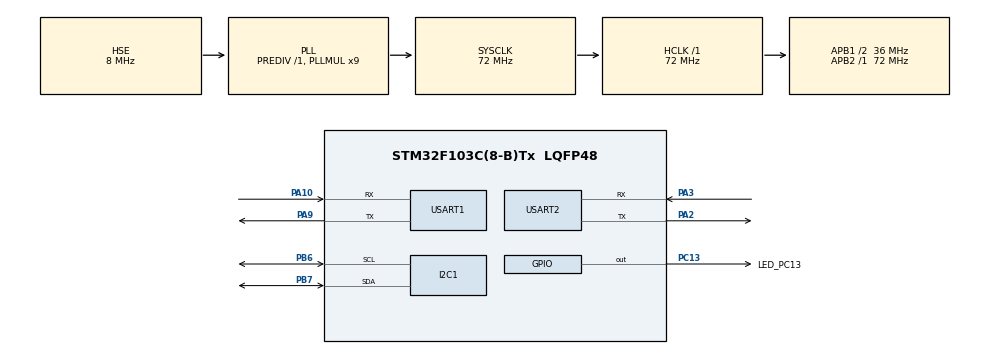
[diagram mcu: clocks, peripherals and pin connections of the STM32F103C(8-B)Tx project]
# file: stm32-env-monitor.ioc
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FREERTOS.Tasks01=defaultTask,24,128,StartDefaultTask,Default,NULL,Dynamic,NULL,NULL
FREERTOS.configCHECK_FOR_STACK_OVERFLOW=2
FREERTOS.configTOTAL_HEAP_SIZE=10240
FREERTOS.configUSE_MALLOC_FAILED_HOOK=1
I2C1.I2C_Mode=I2C_Fast
Mcu.Family=STM32F1
Mcu.Name=STM32F103C(8-B)Tx
Mcu.Package=LQFP48
NVIC.PriorityGroup=NVIC_PRIORITYGROUP_4
PA10.Mode=Asynchronous
PA10.Signal=USART1_RX
PA13.Mode=Serial_Wire
PA13.Signal=SYS_JTMS-SWDIO
PA14.Mode=Serial_Wire
PA14.Signal=SYS_JTCK-SWCLK
PA2.Mode=Asynchronous
PA2.Signal=USART2_TX
PA3.Mode=Asynchronous
PA3.Signal=USART2_RX
PA9.Mode=Asynchronous
PA9.Signal=USART1_TX
PB6.Mode=I2C
PB6.Signal=I2C1_SCL
PB7.Mode=I2C
PB7.Signal=I2C1_SDA
PC13-TAMPER-RTC.GPIO_Label=LED_PC13
PC13-TAMPER-RTC.PinState=GPIO_PIN_SET
PC13-TAMPER-RTC.Signal=GPIO_Output
PD0-OSC_IN.Mode=HSE-External-Oscillator
PD0-OSC_IN.Signal=RCC_OSC_IN
PD1-OSC_OUT.Mode=HSE-External-Oscillator
PD1-OSC_OUT.Signal=RCC_OSC_OUT
ProjectManager.HeapSize=0x200
ProjectManager.StackSize=0x400
ProjectManager.TargetToolchain=STM32CubeIDE
RCC.AHBFreq_Value=72000000
RCC.APB1CLKDivider=RCC_HCLK_DIV2
RCC.APB1Freq_Value=36000000
RCC.APB1TimFreq_Value=72000000
RCC.APB2Freq_Value=72000000
RCC.APB2TimFreq_Value=72000000
RCC.HCLKFreq_Value=72000000
RCC.PLLMUL=RCC_PLL_MUL9
RCC.PLLSourceVirtual=RCC_PLLSOURCE_HSE
RCC.SYSCLKFreq_VALUE=72000000
RCC.SYSCLKSource=RCC_SYSCLKSOURCE_PLLCLK
RCC.USBFreq_Value=72000000
USART1.VirtualMode=VM_ASYNC
USART2.VirtualMode=VM_ASYNC
VP_FREERTOS_VS_CMSIS_V2.Mode=CMSIS_V2
board=custom

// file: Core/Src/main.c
/* USER CODE BEGIN Header */
/**
  ******************************************************************************
  * @file           : main.c
  * @brief          : Main program body
  ******************************************************************************
  * @attention
  *
  * Copyright (c) 2026 STMicroelectronics.
  * All rights reserved.
  *
  * This software is licensed under terms that can be found in the LICENSE file
  * in the root directory of this software component.
  * If no LICENSE file comes with this software, it is provided AS-IS.
  *
  ******************************************************************************
  */
/* USER CODE END Header */
#include "main.h"
#include "cmsis_os.h"
#include "i2c.h"
#include "usart.h"
#include "gpio.h"

/* USER CODE BEGIN Includes */
#include "app_log.h"
#include "app_link.h"
#include "app_display.h"
#include "app_monitor.h"
#include "app_protocol.h"
#include "app_runtime.h"
#include "app_status.h"
#include "FreeRTOS.h"
#include "task.h"
#include <string.h>
/* USER CODE END Includes */

/* USER CODE BEGIN PV */
/* 集中保存启动结果与 LED 心跳状态。 */
static app_status_t app_status;
/* 保存最新传感器快照及各设备的错误统计。 */
static app_monitor_t app_monitor;
/* OLED 页面状态与 128x64 显示缓存。 */
static app_display_t app_display;
/* USART1 二进制协议的发送序号和最近状态。 */
static uint16_t app_protocol_tx_sequence;
static HAL_StatusTypeDef app_protocol_tx_status;
static uint32_t app_protocol_tx_error_count;
/* 保存等待 ACK 的完整帧，超时后以原序号重传。 */
typedef struct
{
  uint8_t pending_frame[APP_PROTOCOL_MAX_FRAME_LENGTH];
  uint16_t pending_frame_length;
  uint32_t last_tx_tick;
  uint32_t retry_count;
  uint32_t timeout_count;
  uint32_t drop_count;
  uint8_t retry_attempts;
  uint8_t pending;
} app_protocol_reliability_t;

static app_protocol_reliability_t app_protocol_reliability;
/* USART1 接收解析器与 ACK 统计。 */
static app_link_t app_link;
/* 采样任务向显示/链路任务复制的完整快照。 */
typedef struct
{
  app_monitor_t monitor;
  uint8_t display_ready;
  /* ESP32 通过 USART1 回传的 Wi-Fi/MQTT 状态，供 OLED 显示。 */
  uint8_t network_flags;
} app_runtime_snapshot_t;

static osMutexId_t app_i2c_mutex;
static osMessageQueueId_t app_display_queue;
static osMessageQueueId_t app_link_queue;
static osThreadId_t app_sensor_task_handle;
static osThreadId_t app_display_task_handle;
static osThreadId_t app_link_task_handle;
static osThreadId_t app_health_task_handle;
static volatile uint32_t app_display_queue_drop_count;
static volatile uint32_t app_link_queue_drop_count;
static volatile uint32_t app_display_queue_peak_count;
static volatile uint32_t app_link_queue_peak_count;
/* USER CODE END PV */

void SystemClock_Config(void);
void MX_FREERTOS_Init(void);

/* USER CODE BEGIN 0 */

#define APP_PROTOCOL_UART_TIMEOUT_MS 20U
#define APP_PROTOCOL_ACK_TIMEOUT_MS 200U
#define APP_PROTOCOL_MAX_ACK_RETRIES 3U
#define APP_PROTOCOL_FLAG_CLIMATE_VALID 0x01U
#define APP_PROTOCOL_FLAG_ILLUMINANCE_VALID 0x02U
#define APP_PROTOCOL_FLAG_DISPLAY_READY 0x04U
#define APP_RTOS_SENSOR_PERIOD_TICKS 1000U
#define APP_RTOS_DISPLAY_WAIT_TICKS 250U
#define APP_RTOS_LINK_WAIT_TICKS 20U
#define APP_RTOS_HEALTH_PERIOD_TICKS 100U
#define APP_RTOS_SNAPSHOT_QUEUE_LENGTH 3U
#define APP_RTOS_RESOURCE_LOG_SAMPLE_PERIOD 60U

static uint32_t app_runtime_stack_free_bytes(osThreadId_t task_handle);

/* 将最新采样快照打包为 ENV_REPORT，并通过 USART1 发送给 ESP32。 */
static HAL_StatusTypeDef app_protocol_send_env_report(const app_monitor_t *monitor,
                                                      uint8_t display_ready,
                                                      app_link_t *link,
                                                      app_protocol_reliability_t *reliability)
{
  app_protocol_env_report_t report = {0};
  uint8_t payload[APP_PROTOCOL_ENV_REPORT_PAYLOAD_LENGTH];
  uint8_t frame[APP_PROTOCOL_MAX_FRAME_LENGTH];
  uint16_t frame_length = 0U;
  uint16_t sequence;
  HAL_StatusTypeDef status;

  if ((monitor == NULL) || (link == NULL) || (reliability == NULL))
  {
    return HAL_ERROR;
  }

  /* 上一帧尚未确认时只等待重传流程，不覆盖缓存帧。 */
  if (link->awaiting_ack != 0U)
  {
    return HAL_BUSY;
  }

  report.uptime_ms = HAL_GetTick();
  report.sample_sequence = monitor->sample_sequence;
  report.temperature_milli_c = monitor->climate.temperature_milli_c;
  report.humidity_milli_rh = monitor->climate.humidity_milli_rh;
  report.illuminance_milli_lux = monitor->illuminance_milli_lux;
  report.aht20_status = (uint8_t)monitor->aht20_status;
  report.bh1750_status = (uint8_t)monitor->bh1750_status;
  report.aht20_comm_errors = monitor->aht20_error_count;
  report.bh1750_comm_errors = monitor->bh1750_error_count;
  report.aht20_data_errors = monitor->aht20_data_error_count;
  report.bh1750_data_errors = monitor->bh1750_data_error_count;

  if (monitor->climate_valid != 0U)
  {
    report.valid_flags |= APP_PROTOCOL_FLAG_CLIMATE_VALID;
  }
  if (monitor->illuminance_valid != 0U)
  {
    report.valid_flags |= APP_PROTOCOL_FLAG_ILLUMINANCE_VALID;
  }
  if (display_ready != 0U)
  {
    report.valid_flags |= APP_PROTOCOL_FLAG_DISPLAY_READY;
  }

  app_protocol_pack_env_report(&report, payload);
  sequence = app_protocol_tx_sequence;
  status = app_protocol_encode(APP_PROTOCOL_TYPE_ENV_REPORT,
                               sequence,
                               payload,
                               sizeof(payload),
                               frame,
                               sizeof(frame),
                               &frame_length);
  if (status != HAL_OK)
  {
    ++app_protocol_tx_error_count;
    return status;
  }

  (void)memcpy(reliability->pending_frame, frame, frame_length);
  reliability->pending_frame_length = frame_length;
  reliability->retry_attempts = 0U;
  reliability->pending = 1U;

  /* ESP32 回 ACK 很快，必须在发送前登记本帧序号。 */
  app_link_arm_env_report_ack(link, sequence);
  status = HAL_UART_Transmit(&huart1,
                             frame,
                             frame_length,
                             APP_PROTOCOL_UART_TIMEOUT_MS);
  if (status == HAL_OK)
  {
    reliability->last_tx_tick = HAL_GetTick();
    ++app_protocol_tx_sequence;
  }
  else
  {
    app_link_cancel_env_report_ack(link);
    reliability->pending = 0U;
    reliability->pending_frame_length = 0U;
    ++app_protocol_tx_error_count;
  }

  return status;
}

/* 非阻塞检查 ACK 超时；每帧最多额外发送三次。 */
static void app_protocol_retry_pending_report(app_link_t *link,
                                              app_protocol_reliability_t *reliability)
{
  HAL_StatusTypeDef status;
  uint32_t now;

  if ((link == NULL) || (reliability == NULL) || (reliability->pending == 0U))
  {
    return;
  }

  /* ACK 中断已确认当前帧，释放本地缓存。 */
  if (link->awaiting_ack == 0U)
  {
    reliability->pending = 0U;
    reliability->pending_frame_length = 0U;
    return;
  }

  now = HAL_GetTick();
  if ((uint32_t)(now - reliability->last_tx_tick) < APP_PROTOCOL_ACK_TIMEOUT_MS)
  {
    return;
  }

  ++reliability->timeout_count;
  if (reliability->retry_attempts >= APP_PROTOCOL_MAX_ACK_RETRIES)
  {
    /* 重试耗尽后放弃旧帧，下一采样周期生成新帧继续工作。 */
    app_link_cancel_env_report_ack(link);
    reliability->pending = 0U;
    reliability->pending_frame_length = 0U;
    ++reliability->drop_count;
    return;
  }

  ++reliability->retry_attempts;
  ++reliability->retry_count;
  reliability->last_tx_tick = now;
  status = HAL_UART_Transmit(link->huart,
                             reliability->pending_frame,
                             reliability->pending_frame_length,
                             APP_PROTOCOL_UART_TIMEOUT_MS);
  app_protocol_tx_status = status;
  if (status != HAL_OK)
  {
    app_protocol_tx_status = status;
    ++app_protocol_tx_error_count;
  }
}

/* USART2 保持详细链路诊断，方便比较 RTOS 迁移前后的行为。 */
static void app_runtime_log_snapshot(const app_runtime_snapshot_t *snapshot)
{
  const app_monitor_t *monitor;
  int32_t temperature_fraction;

  if (snapshot == NULL)
  {
    return;
  }

  monitor = &snapshot->monitor;
  temperature_fraction = monitor->climate.temperature_milli_c % 1000;
  if (temperature_fraction < 0)
  {
    temperature_fraction = -temperature_fraction;
  }

  (void)app_log_printf(&huart2,
                       "sample=%lu aht=%s valid=%u t=%ld.%03ldC h=%lu.%03lu%% "
                       "bh=%s valid=%u l=%lu.%03lulx comm=%lu/%lu data=%lu/%lu "
                       "uart1=%s txerr=%lu ack=%lu rxerr=%lu ackerr=%lu exp=%u got=%u af=0x%02X "
                       "retry=%lu timeout=%lu drop=%lu pending=%u qdrop=%lu/%lu "
                       "net=%c%c ns=%lu nerr=%lu wd=%lu md=%lu nr=%u\r\n",
                       (unsigned long)monitor->sample_sequence,
                       app_monitor_status_name(monitor->aht20_status),
                       (unsigned int)monitor->climate_valid,
                       (long)(monitor->climate.temperature_milli_c / 1000),
                       (long)temperature_fraction,
                       (unsigned long)(monitor->climate.humidity_milli_rh / 1000U),
                       (unsigned long)(monitor->climate.humidity_milli_rh % 1000U),
                       app_monitor_status_name(monitor->bh1750_status),
                       (unsigned int)monitor->illuminance_valid,
                       (unsigned long)(monitor->illuminance_milli_lux / 1000U),
                       (unsigned long)(monitor->illuminance_milli_lux % 1000U),
                       (unsigned long)monitor->aht20_error_count,
                       (unsigned long)monitor->bh1750_error_count,
                       (unsigned long)monitor->aht20_data_error_count,
                       (unsigned long)monitor->bh1750_data_error_count,
                       app_monitor_status_name(app_protocol_tx_status),
                       (unsigned long)app_protocol_tx_error_count,
                       (unsigned long)app_link.ack_count,
                       (unsigned long)app_link.rx_error_count,
                       (unsigned long)app_link.ack_error_count,
                       (unsigned int)app_link.expected_ack_sequence,
                       (unsigned int)app_link.last_received_ack_sequence,
                       (unsigned int)app_link.last_ack_error_flags,
                       (unsigned long)app_protocol_reliability.retry_count,
                       (unsigned long)app_protocol_reliability.timeout_count,
                       (unsigned long)app_protocol_reliability.drop_count,
                       (unsigned int)app_protocol_reliability.pending,
                       (unsigned long)app_display_queue_drop_count,
                       (unsigned long)app_link_queue_drop_count,
                       (app_link.network_flags & APP_PROTOCOL_NET_FLAG_WIFI_CONNECTED) != 0U ? 'W' : '-',
                       (app_link.network_flags & APP_PROTOCOL_NET_FLAG_MQTT_CONNECTED) != 0U ? 'M' : '-',
                       (unsigned long)app_link.net_status_count,
                       (unsigned long)app_link.net_status_error_count,
                       (unsigned long)app_link.wifi_disconnect_count,
                       (unsigned long)app_link.mqtt_disconnect_count,
                       (unsigned int)app_link.last_network_reason);
}

/* 输出堆、栈和队列峰值，用于长稳测试而非功能判定。 */
static void app_runtime_log_resources(void)
{
  (void)app_log_printf(&huart2,
                       "rtos heap=%lu min=%lu stack=%lu/%lu/%lu/%lu "
                       "q=%lu/%lu peak=%lu/%lu qdrop=%lu/%lu\r\n",
                       (unsigned long)xPortGetFreeHeapSize(),
                       (unsigned long)xPortGetMinimumEverFreeHeapSize(),
                       (unsigned long)app_runtime_stack_free_bytes(app_sensor_task_handle),
                       (unsigned long)app_runtime_stack_free_bytes(app_display_task_handle),
                       (unsigned long)app_runtime_stack_free_bytes(app_link_task_handle),
                       (unsigned long)app_runtime_stack_free_bytes(app_health_task_handle),
                       (unsigned long)osMessageQueueGetCount(app_display_queue),
                       (unsigned long)osMessageQueueGetCount(app_link_queue),
                       (unsigned long)app_display_queue_peak_count,
                       (unsigned long)app_link_queue_peak_count,
                       (unsigned long)app_display_queue_drop_count,
                       (unsigned long)app_link_queue_drop_count);
}

/* FreeRTOS 返回的高水位以 StackType_t 个数为单位，转换为字节便于阅读。 */
static uint32_t app_runtime_stack_free_bytes(osThreadId_t task_handle)
{
  if (task_handle == NULL)
  {
    return 0U;
  }

  return (uint32_t)(uxTaskGetStackHighWaterMark((TaskHandle_t)task_handle) *
                    sizeof(StackType_t));
}

/* 采样任务是两条快照队列的唯一生产者，因此在此记录峰值。 */
static void app_runtime_update_queue_peak(osMessageQueueId_t queue,
                                          volatile uint32_t *peak_count)
{
  uint32_t current_count;

  if ((queue == NULL) || (peak_count == NULL))
  {
    return;
  }

  current_count = osMessageQueueGetCount(queue);
  if (current_count > *peak_count)
  {
    *peak_count = current_count;
  }
}

static void app_runtime_sensor_task(void *argument)
{
  app_runtime_snapshot_t snapshot;
  uint32_t next_tick = osKernelGetTickCount();

  (void)argument;
  for (;;)
  {
    if (osMutexAcquire(app_i2c_mutex, osWaitForever) == osOK)
    {
      if (app_monitor_update(&app_monitor, &hi2c1) != 0U)
      {
        snapshot.monitor = app_monitor;
        /* OLED 由显示任务独占，此标志允许链路任务使用最近已知状态。 */
        snapshot.display_ready = app_display.initialized;
        /* 8 位标志由 USART1 接收中断更新，读取是原子的，最多滞后一采样周期。 */
        snapshot.network_flags = app_link.network_flags;

        if (osMessageQueuePut(app_display_queue, &snapshot, 0U, 0U) != osOK)
        {
          ++app_display_queue_drop_count;
        }
        app_runtime_update_queue_peak(app_display_queue, &app_display_queue_peak_count);
        if (osMessageQueuePut(app_link_queue, &snapshot, 0U, 0U) != osOK)
        {
          ++app_link_queue_drop_count;
        }
        app_runtime_update_queue_peak(app_link_queue, &app_link_queue_peak_count);
      }
      (void)osMutexRelease(app_i2c_mutex);
    }

    next_tick += APP_RTOS_SENSOR_PERIOD_TICKS;
    (void)osDelayUntil(next_tick);
  }
}

static void app_runtime_display_task(void *argument)
{
  app_runtime_snapshot_t snapshot = {0};
  uint8_t has_snapshot = 0U;

  (void)argument;
  for (;;)
  {
    uint8_t data_changed = 0U;

    if (osMessageQueueGet(app_display_queue,
                          &snapshot,
                          NULL,
                          APP_RTOS_DISPLAY_WAIT_TICKS) == osOK)
    {
      has_snapshot = 1U;
      data_changed = 1U;
    }

    if ((has_snapshot != 0U) &&
        (osMutexAcquire(app_i2c_mutex, osWaitForever) == osOK))
    {
      app_display_update(&app_display,
                         &hi2c1,
                         &snapshot.monitor,
                         snapshot.network_flags,
                         data_changed);
      (void)osMutexRelease(app_i2c_mutex);
    }
  }
}

static void app_runtime_link_task(void *argument)
{
  app_runtime_snapshot_t snapshot;
  uint32_t last_resource_log_sample = 0U;

  (void)argument;
  for (;;)
  {
    app_protocol_retry_pending_report(&app_link, &app_protocol_reliability);

    if (osMessageQueueGet(app_link_queue,
                          &snapshot,
                          NULL,
                          APP_RTOS_LINK_WAIT_TICKS) == osOK)
    {
      app_protocol_tx_status = app_protocol_send_env_report(&snapshot.monitor,
                                                             snapshot.display_ready,
                                                             &app_link,
                                                             &app_protocol_reliability);
      app_runtime_log_snapshot(&snapshot);

      if ((last_resource_log_sample == 0U) ||
          ((snapshot.monitor.sample_sequence - last_resource_log_sample) >=
           APP_RTOS_RESOURCE_LOG_SAMPLE_PERIOD))
      {
        last_resource_log_sample = snapshot.monitor.sample_sequence;
        app_runtime_log_resources();
      }
    }
  }
}

static void app_runtime_health_task(void *argument)
{
  (void)argument;
  for (;;)
  {
    app_status_update(&app_status, LED_PC13_GPIO_Port, LED_PC13_Pin);
    (void)osDelay(APP_RTOS_HEALTH_PERIOD_TICKS);
  }
}

void app_runtime_init(void)
{
  /* 日志失败仅改变 LED 状态，不阻止后续任务创建。 */
  app_status_init(&app_status,
                  app_log_write(&huart2, "stm32-env-monitor boot\r\n"));
  app_monitor_init(&app_monitor);
  app_display_init(&app_display);
  app_protocol_tx_status = HAL_BUSY;

  /* ACK 字节只做协议解析，不调用 RTOS API，可保持高于内核的优先级。 */
  app_link_init(&app_link, &huart1);
  HAL_NVIC_SetPriority(USART1_IRQn, 1U, 0U);
  HAL_NVIC_EnableIRQ(USART1_IRQn);
}

void app_runtime_start(void)
{
  static const osThreadAttr_t sensor_attributes = {
    .name = "SensorTask",
    .stack_size = 384U * 4U,
    .priority = (osPriority_t)osPriorityAboveNormal,
  };
  static const osThreadAttr_t display_attributes = {
    .name = "DisplayTask",
    .stack_size = 384U * 4U,
    .priority = (osPriority_t)osPriorityBelowNormal,
  };
  static const osThreadAttr_t link_attributes = {
    .name = "LinkTask",
    .stack_size = 512U * 4U,
    .priority = (osPriority_t)osPriorityAboveNormal,
  };
  static const osThreadAttr_t health_attributes = {
    .name = "HealthTask",
    .stack_size = 192U * 4U,
    .priority = (osPriority_t)osPriorityLow,
  };

  app_i2c_mutex = osMutexNew(NULL);
  app_display_queue = osMessageQueueNew(APP_RTOS_SNAPSHOT_QUEUE_LENGTH,
                                        sizeof(app_runtime_snapshot_t),
                                        NULL);
  app_link_queue = osMessageQueueNew(APP_RTOS_SNAPSHOT_QUEUE_LENGTH,
                                     sizeof(app_runtime_snapshot_t),
                                     NULL);

  app_sensor_task_handle = osThreadNew(app_runtime_sensor_task, NULL, &sensor_attributes);
  app_display_task_handle = osThreadNew(app_runtime_display_task, NULL, &display_attributes);
  app_health_task_handle = osThreadNew(app_runtime_health_task, NULL, &health_attributes);
  /* 链路任务最后创建，首次输出资源日志时四个任务句柄均已有效。 */
  app_link_task_handle = osThreadNew(app_runtime_link_task, NULL, &link_attributes);

  if ((app_i2c_mutex == NULL) || (app_display_queue == NULL) ||
      (app_link_queue == NULL) || (app_sensor_task_handle == NULL) ||
      (app_display_task_handle == NULL) || (app_link_task_handle == NULL) ||
      (app_health_task_handle == NULL))
  {
    /* 堆不足时保留 defaultTask，使 LED 常亮并避免继续运行半初始化系统。 */
    app_status.startup_status = HAL_ERROR;
    (void)app_log_write(&huart2, "FreeRTOS resource creation failed\r\n");
    for (;;)
    {
      app_status_update(&app_status, LED_PC13_GPIO_Port, LED_PC13_Pin);
      (void)osDelay(APP_RTOS_HEALTH_PERIOD_TICKS);
    }
  }
}

/* 堆耗尽或任务栈越界后不再继续执行未知状态的业务逻辑。 */
void vApplicationMallocFailedHook(void)
{
  taskDISABLE_INTERRUPTS();
  HAL_GPIO_WritePin(LED_PC13_GPIO_Port, LED_PC13_Pin, GPIO_PIN_RESET);
  for (;;)
  {
    __NOP();
  }
}

void vApplicationStackOverflowHook(TaskHandle_t task_handle, char *task_name)
{
  (void)task_handle;
  (void)task_name;
  taskDISABLE_INTERRUPTS();
  HAL_GPIO_WritePin(LED_PC13_GPIO_Port, LED_PC13_Pin, GPIO_PIN_RESET);
  for (;;)
  {
    __NOP();
  }
}

/* USER CODE END 0 */

int main(void)
{

  /* MCU Configuration--------------------------------------------------------*/

  /* Reset of all peripherals, Initializes the Flash interface and the Systick. */
  HAL_Init();

  /* Configure the system clock */
  SystemClock_Config();

  /* Initialize all configured peripherals */
  MX_GPIO_Init();
  MX_USART1_UART_Init();
  MX_I2C1_Init();
  MX_USART2_UART_Init();
  /* USER CODE BEGIN 2 */
  app_runtime_init();
  /* USER CODE END 2 */

  /* Init scheduler */
  osKernelInitialize();  /* Call init function for freertos objects (in cmsis_os2.c) */
  MX_FREERTOS_Init();

  /* Start scheduler */
  osKernelStart();

  /* We should never get here as control is now taken by the scheduler */

  /* Infinite loop */
  while (1)
  {

    /* USER CODE BEGIN 3 */
    /* 调度器启动后不应执行到此处。 */
    __WFI();
  }
  /* USER CODE END 3 */
}

void SystemClock_Config(void)
{
  RCC_OscInitTypeDef RCC_OscInitStruct = {0};
  RCC_ClkInitTypeDef RCC_ClkInitStruct = {0};

  /** Initializes the RCC Oscillators according to the specified parameters
  * in the RCC_OscInitTypeDef structure.
  */
  RCC_OscInitStruct.OscillatorType = RCC_OSCILLATORTYPE_HSE;
  RCC_OscInitStruct.HSEState = RCC_HSE_ON;
  RCC_OscInitStruct.HSEPredivValue = RCC_HSE_PREDIV_DIV1;
  RCC_OscInitStruct.HSIState = RCC_HSI_ON;
  RCC_OscInitStruct.PLL.PLLState = RCC_PLL_ON;
  RCC_OscInitStruct.PLL.PLLSource = RCC_PLLSOURCE_HSE;
  RCC_OscInitStruct.PLL.PLLMUL = RCC_PLL_MUL9;
  if (HAL_RCC_OscConfig(&RCC_OscInitStruct) != HAL_OK)
  {
    Error_Handler();
  }

  /** Initializes the CPU, AHB and APB buses clocks
  */
  RCC_ClkInitStruct.ClockType = RCC_CLOCKTYPE_HCLK|RCC_CLOCKTYPE_SYSCLK
                              |RCC_CLOCKTYPE_PCLK1|RCC_CLOCKTYPE_PCLK2;
  RCC_ClkInitStruct.SYSCLKSource = RCC_SYSCLKSOURCE_PLLCLK;
  RCC_ClkInitStruct.AHBCLKDivider = RCC_SYSCLK_DIV1;
  RCC_ClkInitStruct.APB1CLKDivider = RCC_HCLK_DIV2;
  RCC_ClkInitStruct.APB2CLKDivider = RCC_HCLK_DIV1;

  if (HAL_RCC_ClockConfig(&RCC_ClkInitStruct, FLASH_LATENCY_2) != HAL_OK)
  {
    Error_Handler();
  }
}

/* USER CODE BEGIN 4 */

/* USART1 每接收一个字节进入一次中断，协议解析器随后立即重新挂起接收。 */
void HAL_UART_RxCpltCallback(UART_HandleTypeDef *huart)
{
  if (huart->Instance == USART1)
  {
    app_link_on_uart_rx_complete(&app_link, huart);
  }
}

void HAL_UART_ErrorCallback(UART_HandleTypeDef *huart)
{
  if (huart->Instance == USART1)
  {
    app_link_on_uart_error(&app_link, huart);
  }
}

/* USER CODE END 4 */

void Error_Handler(void)
{
  __disable_irq();
  while (1)
  {
  }
}

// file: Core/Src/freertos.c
/* USER CODE BEGIN Header */
/**
  ******************************************************************************
  * File Name          : freertos.c
  * Description        : Code for freertos applications
  ******************************************************************************
  * @attention
  *
  * Copyright (c) 2026 STMicroelectronics.
  * All rights reserved.
  *
  * This software is licensed under terms that can be found in the LICENSE file
  * in the root directory of this software component.
  * If no LICENSE file comes with this software, it is provided AS-IS.
  *
  ******************************************************************************
  */
/* USER CODE END Header */

#include "FreeRTOS.h"
#include "task.h"
#include "main.h"
#include "cmsis_os.h"

/* USER CODE BEGIN Includes */
#include "app_runtime.h"

/* USER CODE END Includes */

/* Definitions for defaultTask */
osThreadId_t defaultTaskHandle;
const osThreadAttr_t defaultTask_attributes = {
  .name = "defaultTask",
  .stack_size = 128 * 4,
  .priority = (osPriority_t) osPriorityNormal,
};

void StartDefaultTask(void *argument);

void MX_FREERTOS_Init(void); /* (MISRA C 2004 rule 8.1) */

void MX_FREERTOS_Init(void) {

  /* Create the thread(s) */
  /* creation of defaultTask */
  defaultTaskHandle = osThreadNew(StartDefaultTask, NULL, &defaultTask_attributes);

}

void StartDefaultTask(void *argument)
{
  /* USER CODE BEGIN StartDefaultTask */
  (void)argument;
  app_runtime_start();
  osThreadExit();
  /* USER CODE END StartDefaultTask */
}
